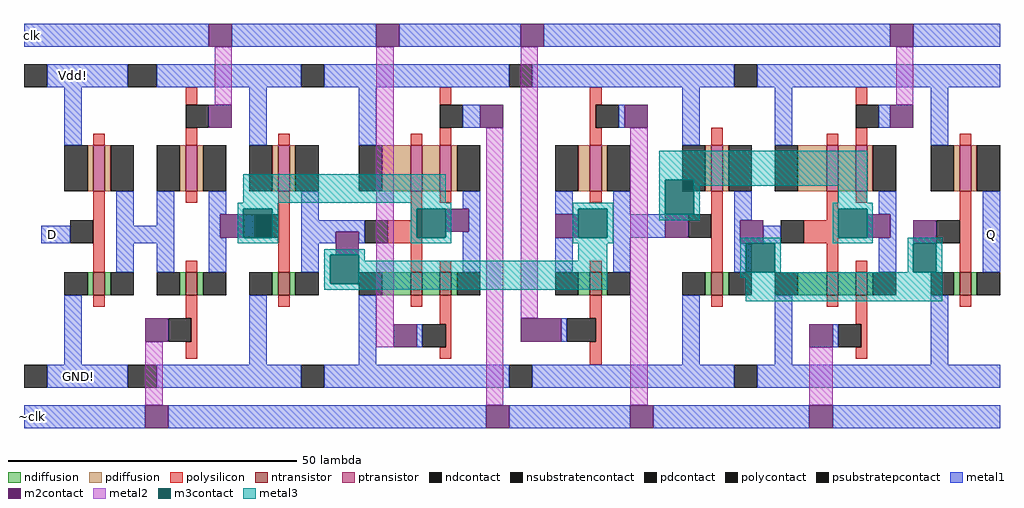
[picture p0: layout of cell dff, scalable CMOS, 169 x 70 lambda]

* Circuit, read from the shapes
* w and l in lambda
.subckt dff D GND! Q Vdd! clk ~clk
M1 n1 D GND! GND! nfet w=4 l=2
M2 n2 ~clk n1 GND! nfet w=4 l=2
M3 n3 n2 GND! GND! nfet w=4 l=2
M4 n4 n3 GND! GND! nfet w=4 l=2
M5 n2 clk n4 GND! nfet w=4 l=2
M6 n5 clk n3 GND! nfet w=4 l=2
M7 n6 n5 GND! GND! nfet w=4 l=2
M8 n7 n6 GND! GND! nfet w=4 l=2
M9 n5 ~clk n7 GND! nfet w=4 l=2
M10 Q n6 GND! GND! nfet w=4 l=2
M11 n1 D Vdd! Vdd! pfet w=8 l=2
M12 n2 clk n1 Vdd! pfet w=8 l=2
M13 n3 n2 Vdd! Vdd! pfet w=8 l=2
M14 n8 n3 Vdd! Vdd! pfet w=8 l=2
M15 n2 ~clk n8 Vdd! pfet w=8 l=2
M16 n5 ~clk n3 Vdd! pfet w=8 l=2
M17 n6 n5 Vdd! Vdd! pfet w=8 l=2
M18 n9 n6 Vdd! Vdd! pfet w=8 l=2
M19 n5 clk n9 Vdd! pfet w=8 l=2
M20 Q n6 Vdd! Vdd! pfet w=8 l=2
.ends

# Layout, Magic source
magic
tech scmos
<< ntransistor >>
rect 11 24 13 28
rect 27 24 29 28
rect 43 24 45 28
rect 66 24 68 28
rect 71 24 73 28
rect 97 24 99 28
rect 118 24 120 28
rect 138 24 140 28
rect 143 24 145 28
rect 161 24 163 28
<< ptransistor >>
rect 11 42 13 50
rect 27 42 29 50
rect 43 42 45 50
rect 66 42 68 50
rect 71 42 73 50
rect 97 42 99 50
rect 118 42 120 50
rect 138 42 140 50
rect 143 42 145 50
rect 161 42 163 50
<< ndiffusion >>
rect 10 24 11 28
rect 13 24 14 28
rect 26 24 27 28
rect 29 24 30 28
rect 42 24 43 28
rect 45 24 46 28
rect 61 24 66 28
rect 68 24 71 28
rect 73 24 74 28
rect 95 24 97 28
rect 99 24 100 28
rect 117 24 118 28
rect 120 24 121 28
rect 133 24 138 28
rect 140 24 143 28
rect 145 24 146 28
rect 160 24 161 28
rect 163 24 164 28
<< pdiffusion >>
rect 10 42 11 50
rect 13 42 14 50
rect 26 42 27 50
rect 29 42 30 50
rect 42 42 43 50
rect 45 42 46 50
rect 61 42 66 50
rect 68 42 71 50
rect 73 42 74 50
rect 95 42 97 50
rect 99 42 100 50
rect 117 42 118 50
rect 120 42 121 50
rect 133 42 138 50
rect 140 42 143 50
rect 145 42 146 50
rect 160 42 161 50
rect 163 42 164 50
<< ndcontact >>
rect 6 24 10 28
rect 14 24 18 28
rect 22 24 26 28
rect 30 24 34 28
rect 38 24 42 28
rect 46 24 50 28
rect 57 24 61 28
rect 74 24 78 28
rect 91 24 95 28
rect 100 24 104 28
rect 113 24 117 28
rect 121 24 125 28
rect 129 24 133 28
rect 146 24 150 28
rect 156 24 160 28
rect 164 24 168 28
<< pdcontact >>
rect 6 42 10 50
rect 14 42 18 50
rect 22 42 26 50
rect 30 42 34 50
rect 38 42 42 50
rect 46 42 50 50
rect 57 42 61 50
rect 74 42 78 50
rect 91 42 95 50
rect 100 42 104 50
rect 113 42 117 50
rect 121 42 125 50
rect 129 42 133 50
rect 146 42 150 50
rect 156 42 160 50
rect 164 42 168 50
<< psubstratepcontact >>
rect -1 8 3 12
rect 17 8 22 12
rect 47 8 51 12
rect 83 8 87 12
rect 122 8 126 12
<< nsubstratencontact >>
rect -1 60 3 64
rect 17 60 22 64
rect 47 60 51 64
rect 83 60 87 64
rect 122 60 126 64
<< polysilicon >>
rect 27 57 29 60
rect 71 57 73 60
rect 97 57 99 60
rect 143 57 145 60
rect 97 53 98 57
rect 11 50 13 52
rect 27 50 29 53
rect 43 50 45 52
rect 66 50 68 52
rect 71 50 73 53
rect 97 50 99 53
rect 118 50 120 53
rect 138 50 140 52
rect 143 50 145 53
rect 161 50 163 52
rect 11 28 13 42
rect 27 40 29 42
rect 27 28 29 30
rect 43 28 45 42
rect 66 37 68 42
rect 71 40 73 42
rect 97 40 99 42
rect 62 33 68 37
rect 66 28 68 33
rect 71 28 73 30
rect 97 28 99 30
rect 118 28 120 42
rect 138 37 140 42
rect 143 40 145 42
rect 134 33 140 37
rect 138 28 140 33
rect 143 28 145 30
rect 161 28 163 42
rect 11 22 13 24
rect 27 20 29 24
rect 43 22 45 24
rect 66 22 68 24
rect 28 16 29 20
rect 71 19 73 24
rect 97 20 99 24
rect 118 22 120 24
rect 138 22 140 24
rect 27 13 29 16
rect 72 15 73 19
rect 98 16 99 20
rect 143 19 145 24
rect 161 22 163 24
rect 71 13 73 15
rect 97 12 99 16
rect 144 15 145 19
rect 143 13 145 15
<< polycontact >>
rect 27 53 31 57
rect 71 53 75 57
rect 98 53 102 57
rect 143 53 147 57
rect 7 33 11 37
rect 39 34 43 38
rect 58 33 62 37
rect 114 34 118 38
rect 130 33 134 37
rect 157 33 161 37
rect 24 16 28 20
rect 68 15 72 19
rect 93 16 98 20
rect 140 15 144 19
<< metal1 >>
rect -1 67 31 71
rect 35 67 60 71
rect 64 67 85 71
rect 89 67 149 71
rect 153 67 168 71
rect 3 60 17 64
rect 22 60 47 64
rect 51 60 83 64
rect 87 60 122 64
rect 126 60 168 64
rect 6 50 9 60
rect 38 50 41 60
rect 57 50 60 60
rect 75 53 78 57
rect 102 53 103 57
rect 113 50 116 60
rect 129 50 132 60
rect 147 53 149 57
rect 156 50 159 60
rect 2 33 7 36
rect 15 36 18 42
rect 22 36 25 42
rect 15 33 25 36
rect 15 28 18 33
rect 22 28 25 33
rect 31 38 34 42
rect 31 34 33 38
rect 37 34 39 38
rect 47 37 50 42
rect 75 39 78 42
rect 47 35 58 37
rect 31 28 34 34
rect 47 33 53 35
rect 47 28 50 33
rect 57 33 58 35
rect 76 35 78 39
rect 75 28 78 35
rect 91 38 94 42
rect 101 38 104 42
rect 101 34 110 38
rect 122 37 125 42
rect 147 38 150 42
rect 91 28 94 34
rect 101 28 104 34
rect 122 33 123 37
rect 127 33 130 36
rect 149 34 150 38
rect 122 28 125 33
rect 147 28 150 34
rect 165 28 168 42
rect 6 12 9 24
rect 38 12 41 24
rect 57 12 60 24
rect 67 15 68 19
rect 92 16 93 20
rect 113 12 116 24
rect 129 12 132 24
rect 139 15 140 19
rect 156 12 159 24
rect 3 8 17 12
rect 22 8 47 12
rect 51 8 83 12
rect 87 8 122 12
rect 126 8 168 12
rect -1 1 20 5
rect 24 1 79 5
rect 83 1 104 5
rect 108 1 135 5
rect 139 1 168 5
<< m2contact >>
rect 31 67 35 71
rect 60 67 64 71
rect 85 67 89 71
rect 149 67 153 71
rect 31 53 35 57
rect 78 53 82 57
rect 103 53 107 57
rect 149 53 153 57
rect 33 34 37 38
rect 53 31 57 35
rect 72 35 76 39
rect 91 34 95 38
rect 110 34 114 38
rect 123 33 127 37
rect 145 34 149 38
rect 153 33 157 37
rect 20 16 24 20
rect 63 15 67 19
rect 85 16 92 20
rect 135 15 139 19
rect 20 1 24 5
rect 79 1 83 5
rect 104 1 108 5
rect 135 1 139 5
<< metal2 >>
rect 32 57 35 67
rect 20 5 23 16
rect 60 15 63 67
rect 79 5 82 53
rect 85 20 88 67
rect 150 57 153 67
rect 104 5 107 53
rect 135 5 139 15
<< m3contact >>
rect 37 34 42 39
rect 52 26 57 31
rect 67 34 72 39
rect 95 34 100 39
rect 110 38 115 44
rect 140 34 145 39
rect 124 28 129 33
rect 153 28 157 33
<< metal3 >>
rect 37 40 72 45
rect 109 44 145 49
rect 36 39 43 40
rect 36 34 37 39
rect 42 34 43 39
rect 36 33 43 34
rect 66 39 73 40
rect 66 34 67 39
rect 72 34 73 39
rect 66 33 73 34
rect 94 39 101 40
rect 94 34 95 39
rect 100 34 101 39
rect 109 38 110 44
rect 115 43 145 44
rect 115 38 116 43
rect 140 40 145 43
rect 109 37 116 38
rect 139 39 146 40
rect 139 34 140 39
rect 145 34 146 39
rect 94 33 101 34
rect 123 33 130 34
rect 139 33 146 34
rect 152 33 158 34
rect 51 31 58 32
rect 51 26 52 31
rect 57 30 58 31
rect 95 30 100 33
rect 57 26 100 30
rect 123 28 124 33
rect 129 28 130 33
rect 152 28 153 33
rect 157 28 158 33
rect 123 27 158 28
rect 51 25 100 26
rect 124 23 158 27
<< labels >>
rlabel metal1 2 33 6 36 1 D
rlabel metal1 7 8 10 12 1 GND!
rlabel metal1 6 60 9 64 1 Vdd!
rlabel metal1 165 31 168 38 7 Q
rlabel metal1 -1 67 2 71 4 clk
rlabel metal1 -1 1 2 5 2 ~clk
<< end >>
